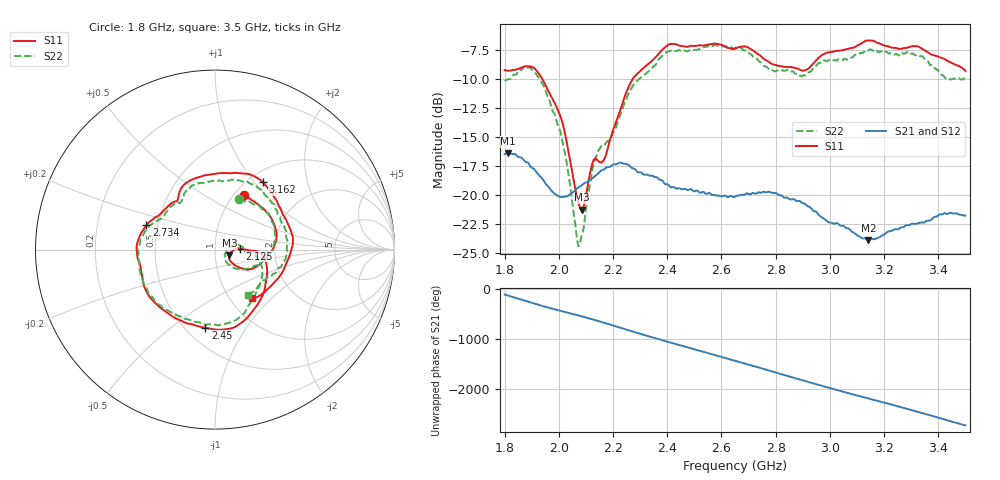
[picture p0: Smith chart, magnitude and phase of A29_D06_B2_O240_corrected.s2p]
! Created with skrf 1.9.0 (http://scikit-rf.org).
# Hz S RI R 50.0
!freq ReS11 ImS11 ReS21 ImS21 ReS12 ImS12 ReS22 ImS22
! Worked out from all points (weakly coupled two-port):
!   1601 points, 1.8 GHz to 3.5 GHz, reference 50 ohm
!   highest |S21| = -16.42 dB at 1.813 GHz (marker M1); lowest = -23.9 dB at 3.142 GHz (marker M2)
!   lowest |S11| = -21.3 dB at 2.084 GHz (marker M3), VSWR 1.19, Z = 58.6 - j3.75 ohm
!   |S11| at or under -10 dB: 1.939 GHz to 2.272 GHz (333 MHz wide, 15.8 % of centre)
!   |S22| runs from -24.4 to -7.0 dB; largest |S21 - S12| = 0.0026
!   S11 on the Smith chart (normalised r, x): 1.8 GHz: 1.11, +0.77; 2.125 GHz: 1.32, +0.02; 2.45 GHz: 0.62, -0.67; 2.734 GHz: 0.43, +0.14; 3.162 GHz: 1.15, +1.11; 3.5 GHz: 1.26, -0.78
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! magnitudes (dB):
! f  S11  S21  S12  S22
! 1.8 GHz  -9.2  -16.5  -16.5  -10.1
! 1.813 GHz  -9.3  -16.4  -16.4  -10.0
! 1.88 GHz  -8.9  -17.2  -17.2  -9.0
! 1.943 GHz  -10.2  -18.8  -18.7  -10.6
! 2.011 GHz  -13.6  -20.2  -20.2  -15.2
! 2.068 GHz  -20.3  -19.4  -19.5  -23.9
! 2.084 GHz  -21.3  -19.2  -19.1  -23.6
! 2.125 GHz  -17.2  -18.6  -18.5  -17.7
! 2.168 GHz  -16.9  -17.8  -17.8  -15.6
! 2.271 GHz  -10.1  -17.7  -17.6  -10.7
! 2.367 GHz  -7.9  -18.6  -18.6  -8.3
! 2.45 GHz  -7.2  -19.5  -19.5  -7.6
! 2.65 GHz  -7.4  -20.2  -20.1  -7.3
! 2.734 GHz  -7.8  -19.8  -19.8  -8.3
! 2.793 GHz  -8.8  -19.9  -19.8  -9.3
! 2.934 GHz  -8.8  -21.3  -21.2  -9.2
! 3.142 GHz  -6.7  -23.9  -23.8  -7.6
! 3.162 GHz  -6.7  -23.8  -23.8  -7.5
! 3.217 GHz  -7.2  -23.2  -23.1  -7.8
! 3.325 GHz  -7.2  -22.5  -22.4  -7.9
! 3.43 GHz  -8.4  -21.6  -21.6  -10.0
! 3.5 GHz  -9.3  -21.8  -21.8  -10.1
